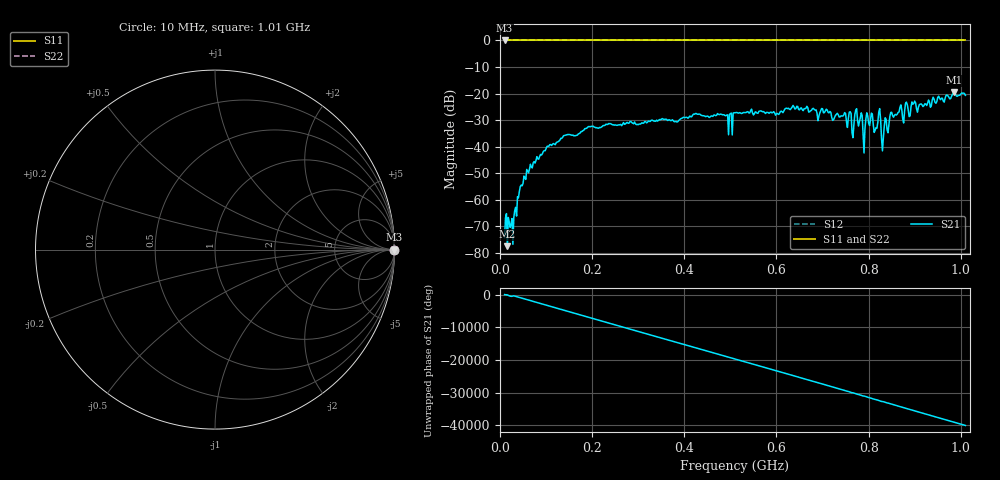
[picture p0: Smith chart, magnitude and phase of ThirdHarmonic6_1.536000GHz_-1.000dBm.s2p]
! 8/16/2025 6:12:14 PM
! C:\ANRITSUVNA\TEMP\TEMP.S2P
! CHANNEL.1
! TR.MEASUREMENT
! RAW.DATA
! RF.CORRECTION.OFF
! AVERAGING.OFF
! IF.BANDWIDTH: 5KHZ
! SWEEPTYPE:  FREQ.SWEEP(Linear)
! Reference Plane Port Info
! PORT:  PORT1  PORT2
! DISTANCE:  0  m  0  m
! TIME:  0  s  0  s
! PHASE.OFFSET:  0  deg.  0  deg.
! LOSS:  0  dB  0  dB
! REF.LOSS:  0  dB  0  dB
! REF.FREQ:  0  Hz  0  Hz
! Power Info
! POWER:  -20  dBm  -20  dBm
! EFF.POWER:  -20  dBm  -20  dBm
! SOURCE.ATTEN:  0  dB  0  dB
! TEST.ATTEN:  0  dB  0  dB
# GHZ S RI R 50.0
! FREQ.GHZ  S11RE  S11IM  S21RE  S21IM  S12RE  S12IM  S22RE  S22IM
!; PortSelection: Port_12
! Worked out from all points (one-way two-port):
!   501 points, 10 MHz to 1.01 GHz, reference 50 ohm
!   highest |S21| = -19.55 dB at 986 MHz (marker M1); lowest = -77.5 dB at 16 MHz (marker M2)
!   lowest |S11| = 0.0 dB at 10 MHz (marker M3)
!   |S11| at or under -10 dB: nowhere
!   |S22| runs from 0.0 to 0.0 dB; largest |S21 - S12| = 1.1
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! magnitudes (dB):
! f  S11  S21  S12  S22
! 10 MHz  0.0  -74.3  0.0  0.0
! 16 MHz  0.0  -77.5  0.0  0.0
! 26 MHz  0.0  -67.1  0.0  0.0
! 48 MHz  0.0  -54.8  0.0  0.0
! 76 MHz  0.0  -46.2  0.0  0.0
! 178 MHz  0.0  -34.3  0.0  0.0
! 344 MHz  0.0  -30.1  0.0  0.0
! 476 MHz  0.0  -27.9  0.0  0.0
! 500 MHz  0.0  -27.6  0.0  0.0
! 510 MHz  0.0  -27.3  0.0  0.0
! 678 MHz  0.0  -25.7  0.0  0.0
! 766 MHz  0.0  -36.6  0.0  0.0
! 774 MHz  0.0  -25.7  0.0  0.0
! 790 MHz  0.0  -42.4  0.0  0.0
! 796 MHz  0.0  -27.2  0.0  0.0
! 814 MHz  0.0  -33.9  0.0  0.0
! 822 MHz  0.0  -27.0  0.0  0.0
! 830 MHz  0.0  -41.6  0.0  0.0
! 844 MHz  0.0  -31.7  0.0  0.0
! 898 MHz  0.0  -23.7  0.0  0.0
! 986 MHz  0.0  -19.6  0.0  0.0
! 1.01 GHz  0.0  -20.7  0.0  0.0
